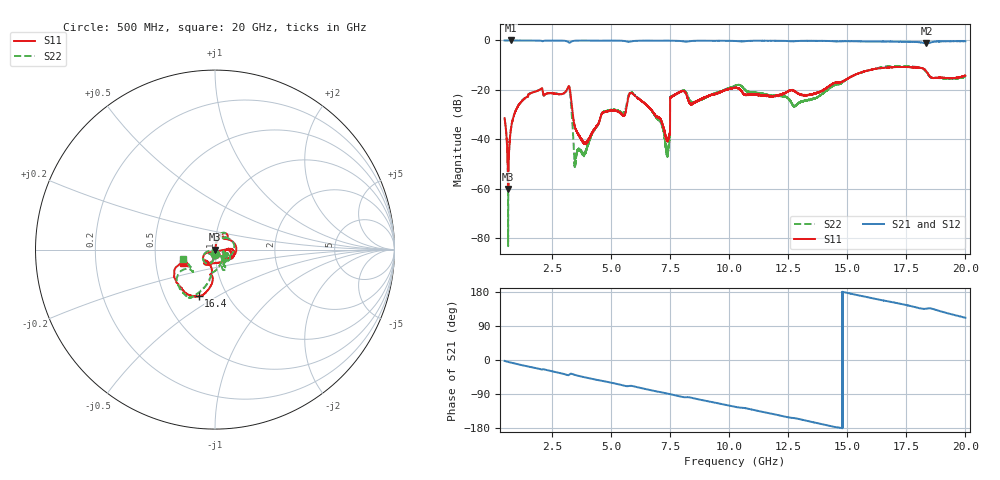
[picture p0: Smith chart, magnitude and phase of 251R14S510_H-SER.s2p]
!{251R14S510}
!Johanson Technology Inc.
!www.johansontechnology.com
!Test Board Conditions:
!Substrate Type  RO4350B
!Substrate Thickness  20 mil
!Substrate Dk  3.66
!TL Type: GCPW
!TL Trace Width  36 mil
!TL Gap  12 mil
!Electrode orientation  Horizontal
!DUT TOPOLOGY	SERIES
!Mounting Pad LxW  26x36 mil
! Created Wed Mar 11 15:51:06 2020
# mhz S ma R 50
! 2 Port Network Data from SP1.SP block
! freq  magS11  angS11  magS21  angS21  magS12  angS12  magS22  angS22
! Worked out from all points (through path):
!   19501 points, 500 MHz to 20 GHz, reference 50 ohm
!   highest |S21| = 0.00 dB at 761 MHz (marker M1); lowest = -1.2 dB at 18.35 GHz (marker M2)
!   group delay of S21, straight-line fit = 34.4 ps
!   lowest |S11| = -60.0 dB at 647 MHz (marker M3), VSWR 1.00, Z = 50.1 - j0.0589 ohm
!   |S11| at or under -10 dB: start of sweep to end of sweep
!   |S22| runs from -83.1 to -10.3 dB; largest |S21 - S12| = 0.017
!   S11 on the Smith chart (normalised r, x): 500 MHz: 1.00, -0.05; 16.4 GHz: 0.74, -0.41; 20 GHz: 0.69, -0.11
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500  0.0269 -90.3  0.9989 -2.4  0.9983 -2.4  0.02685 -91.6
647  0.0009995 -36.1  0.9991 -5.1  0.9989 -5.0  0.0002034 -48.7
761  0.01525 78.4  0.9998 -6.9  0.998 -6.9  0.01548 84.6
1007  0.04169 77.6  0.9979 -10.5  0.9977 -10.5  0.04203 80.0
1598  0.08552 70.2  0.9945 -18.5  0.9951 -18.5  0.08633 72.5
3172  0.1101 22.6  0.9495 -40.2  0.9496 -40.1  0.1049 29.8
3285  0.08756 -34.8  0.9162 -36.4  0.9169 -36.4  0.07273 -34.8
3483  0.0172 -30.4  0.9882 -39.5  0.9878 -39.5  0.002957 28.1
3750  0.01003 -29.8  0.9946 -43.6  0.9943 -43.6  0.005751 108.4
4677  0.03497 -133.4  0.99 -55.5  0.9911 -55.5  0.03583 -138.2
5542  0.03001 -127.1  0.9784 -67.5  0.9781 -67.5  0.0343 -119.8
5839  0.08785 -128.9  0.9489 -68.1  0.9499 -68.1  0.09118 -128.4
7000  0.02794 -139.7  0.9865 -83.7  0.9871 -83.7  0.02528 -159.2
7386  0.009865 -87.1  0.9909 -88.6  0.9907 -88.6  0.004528 -94.8
7598  0.07443 -0.2  0.9867 -91.5  0.9872 -91.5  0.0753 -17.0
8429  0.05167 -15.6  0.9766 -100.0  0.9753 -99.9  0.05514 -46.3
10250  0.1111 -16.1  0.9762 -123.4  0.9768 -123.3  0.1214 -60.0
13500  0.08206 -116.3  0.9827 -163.3  0.9838 -163.4  0.06558 -40.9
16404  0.2739 -109.3  0.9501 158.8  0.9421 158.6  0.283 -114.5
16750  0.2849 -114.6  0.9498 154.5  0.9441 154.2  0.3011 -116.8
18352  0.2364 -155.8  0.8689 135.6  0.8622 135.4  0.2271 -147.6
20000  0.1948 -157.6  0.9641 111.5  0.9629 111.7  0.1862 -163.0
